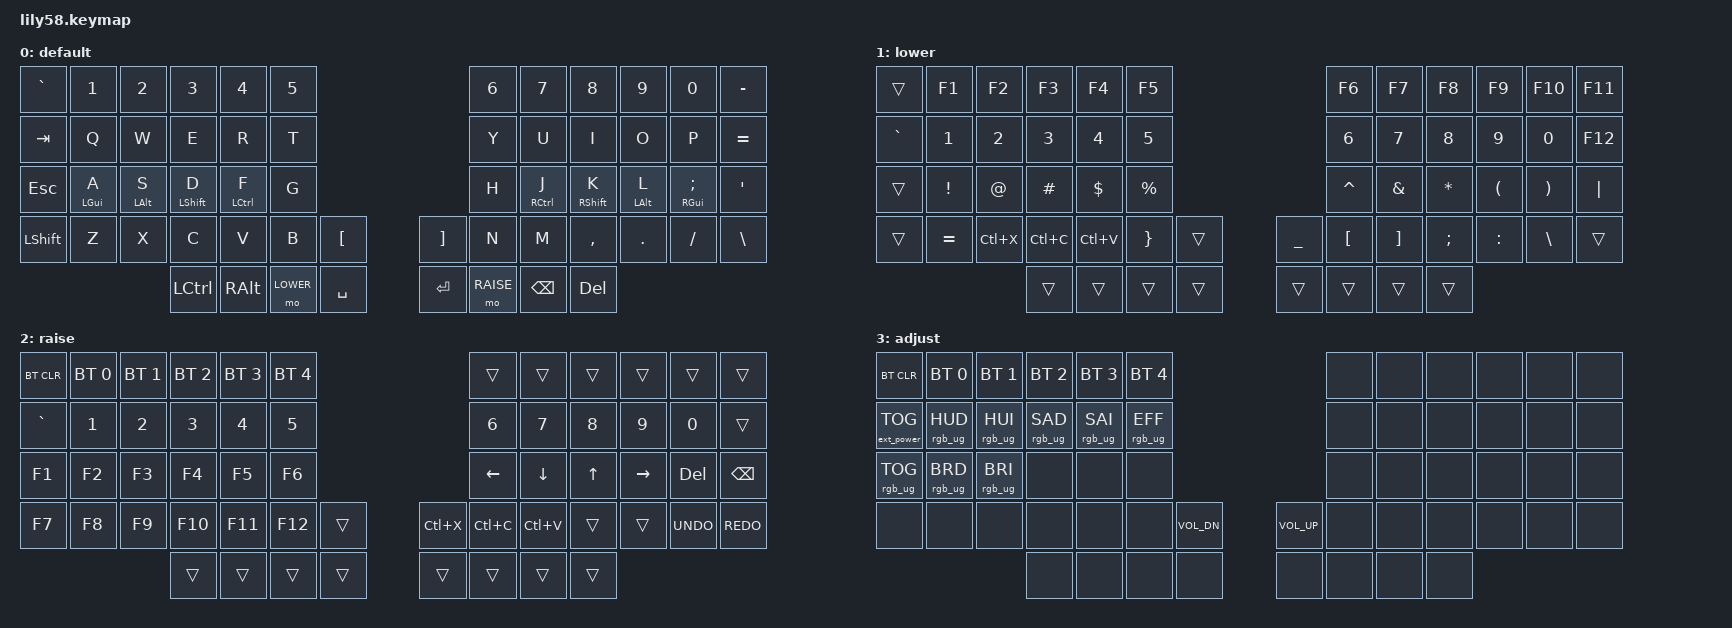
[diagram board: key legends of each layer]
/*
 * Copyright (c) 2020 The ZMK Contributors
 *
 * SPDX-License-Identifier: MIT
 */

#include <behaviors.dtsi>
#include <dt-bindings/zmk/keys.h>
#include <dt-bindings/zmk/bt.h>
#include <dt-bindings/zmk/ext_power.h>
#include <dt-bindings/zmk/rgb.h>

#define BASE 0
#define LOWER 1
#define RAISE 2
#define ADJUST 3

/ {
    // Activate ADJUST layer by pressing raise and lower
    conditional_layers {
        compatible = "zmk,conditional-layers";
        adjust_layer {
            if-layers = <LOWER RAISE>;
            then-layer = <ADJUST>;
        };
    };

    behaviors {
        hml_pinky: hml_pinky {
            compatible = "zmk,behavior-hold-tap";
            label = "HML_PINKY";
            bindings = <&kp>, <&kp>;

            #binding-cells = <2>;
            tapping-term-ms = <250>;
            quick-tap-ms = <150>;
            require-prior-idle-ms = <10>;
            flavor = "balanced";
            hold-trigger-on-release;
        };

        hml_ring: hml_ring {
            compatible = "zmk,behavior-hold-tap";
            label = "HML_RING";
            bindings = <&kp>, <&kp>;

            #binding-cells = <2>;
            tapping-term-ms = <220>;
            quick-tap-ms = <150>;
            require-prior-idle-ms = <10>;
            flavor = "balanced";
            hold-trigger-on-release;
        };

        hml_middle: hml_middle {
            compatible = "zmk,behavior-hold-tap";
            label = "HML_MIDDLE";
            bindings = <&kp>, <&kp>;

            #binding-cells = <2>;
            tapping-term-ms = <190>;
            quick-tap-ms = <150>;
            require-prior-idle-ms = <10>;
            flavor = "balanced";
            hold-trigger-on-release;
        };

        hml_index: hml_index {
            compatible = "zmk,behavior-hold-tap";
            label = "HML_INDEX";
            bindings = <&kp>, <&kp>;

            #binding-cells = <2>;
            tapping-term-ms = <170>;
            quick-tap-ms = <150>;
            require-prior-idle-ms = <10>;
            flavor = "balanced";
            hold-trigger-on-release;
        };

        hmr_index: hmr_index {
            compatible = "zmk,behavior-hold-tap";
            label = "HMR_INDEX";
            bindings = <&kp>, <&kp>;

            #binding-cells = <2>;
            tapping-term-ms = <170>;
            quick-tap-ms = <150>;
            require-prior-idle-ms = <10>;
            flavor = "balanced";
            hold-trigger-on-release;
        };

        hmr_middle: hmr_middle {
            compatible = "zmk,behavior-hold-tap";
            label = "HMR_MIDDLE";
            bindings = <&kp>, <&kp>;

            #binding-cells = <2>;
            tapping-term-ms = <190>;
            quick-tap-ms = <150>;
            require-prior-idle-ms = <10>;
            flavor = "balanced";
            hold-trigger-on-release;
        };

        hmr_ring: hmr_ring {
            compatible = "zmk,behavior-hold-tap";
            label = "HMR_RING";
            bindings = <&kp>, <&kp>;

            #binding-cells = <2>;
            tapping-term-ms = <220>;
            quick-tap-ms = <150>;
            require-prior-idle-ms = <10>;
            flavor = "balanced";
            hold-trigger-on-release;
        };

        hmr_pinky: hmr_pinky {
            compatible = "zmk,behavior-hold-tap";
            label = "HMR_PINKY";
            bindings = <&kp>, <&kp>;

            #binding-cells = <2>;
            tapping-term-ms = <250>;
            quick-tap-ms = <150>;
            require-prior-idle-ms = <10>;
            flavor = "balanced";
            hold-trigger-on-release;
        };
    };

    keymap {
        compatible = "zmk,keymap";

        default_layer {
            display-name = "default";
// ------------------------------------------------------------------------------------------------------------
// |  GRAVE |  1  |  2  |  3   |  4   |  5   |                   |  6   |  7    |  8    |  9   |   0   |   -   |
// |  TAB   |  Q  |  W  |  E   |  R   |  T   |                   |  Y   |  U    |  I    |  O   |   P   |   =   |
// |  ESC   |  A  |  S  |  D   |  F   |  G   |                   |  H   |  J    |  K    |  L   |   ;   |   '   |
// | SHIFT  |  Z  |  X  |  C   |  V   |  B   |   [   |  |  ]     |  N   |  M    |  ,    |  .   |   /   |   \   |
//                     | CTRL | ALT  | LOWER|  SPACE |  | ENTER | RAISE| BSPC  | DEL   |
            bindings = <
&kp GRAVE   &kp N1           &kp N2           &kp N3             &kp N4         &kp N5                             &kp N6     &kp N7         &kp N8        &kp N9           &kp N0                    &kp MINUS
&kp TAB     &kp Q            &kp W            &kp E              &kp R          &kp T                              &kp Y      &kp U          &kp I         &kp O            &kp P                     &kp EQUAL
&kp ESC     &hml_pinky LGUI A      &hml_ring LALT S      &hml_middle LSHFT D       &hml_index LCTRL F   &kp G                              &kp H      &hmr_index RCTRL J   &hmr_middle RSHFT K  &hmr_ring LALT L      &hmr_pinky RGUI SEMI            &kp SQT
&kp LSHFT   &kp Z            &kp X            &kp C              &kp V          &kp B      &kp LBKT      &kp RBKT  &kp N      &kp M          &kp COMMA     &kp DOT          &kp FSLH                  &kp BSLH
                             &kp LCTRL        &kp RALT           &mo LOWER      &kp SPACE                          &kp RET    &mo RAISE      &kp BSPC      &kp DEL
            >;
        };

        lower_layer {
            display-name = "lower";
// ------------------------------------------------------------------------------------------------------------
// |       |  F1 |  F2 |  F3  |  F4  |  F5  |                   |  F6  |  F7   |  F8   |  F9  |  F10  |  F11  |
// |   `   |  1  |  2  |  3   |  4   |  5   |   6   |   |   7   |  8   |   9   |   0   |   1   |  F12  |
// |       |  !  |  @  |  #   |  $   |  %   |   ^   |   |   &   |  *   |   (   |   )   |   |   |   |   |
// |       |  =  | CUT | COPY | PASTE |  }   |       |   |   _   |  [   |   ]   |   ;   |   :   |   \   |       |
//                     |      |      |      |       |   |       |      |       |       |
            bindings = <
&trans     &kp F1     &kp F2     &kp F3     &kp F4     &kp F5                          &kp F6     &kp F7     &kp F8     &kp F9     &kp F10    &kp F11
&kp GRAVE  &kp N1     &kp N2     &kp N3     &kp N4     &kp N5     &kp N6               &kp N7     &kp N8     &kp N9     &kp N0     &kp F12
&trans     &kp EXCL   &kp AT     &kp HASH   &kp DLLR   &kp PRCNT  &kp CARET            &kp AMPS   &kp ASTRK  &kp LPAR   &kp RPAR   &kp PIPE
&trans     &kp EQUAL  &kp LC(X)  &kp LC(C) &kp LC(V) &kp RBRC   &trans    &kp UNDER  &kp LBKT   &kp RBKT   &kp SEMI   &kp COLON  &kp BSLH   &trans
                      &trans     &trans     &trans     &trans                          &trans     &trans     &trans     &trans
            >;
        };

        raise_layer {
            display-name = "raise";
// ------------------------------------------------------------------------------------------------------------
// | BTCLR | BT1  | BT2  |  BT3  |  BT4  |  BT5 |                |      |      |       |      |       |       |
// |   `   |  1   |  2   |   3   |   4   |   5  |                |  6   |   7  |   8   |  9   |   0   |       |
// |   F1  |  F2  |  F3  |   F4  |   F5  |   F6 |                | LEFT | DOWN |  UP   | RIGHT|  DEL  | BKSPC |
// |   F7  |  F8  |  F9  |  F10  |  F11  |  F12 |      |  | CUT  | COPY | PASTE|      |      | UNDO  | REDO  |
//                |      |       |       |      |      |  |      |      |      |       |      |
            bindings = <
&bt BT_CLR  &bt BT_SEL 0  &bt BT_SEL 1  &bt BT_SEL 2  &bt BT_SEL 3  &bt BT_SEL 4                 &trans         &trans         &trans         &trans           &trans           &trans
&kp GRAVE   &kp N1        &kp N2        &kp N3        &kp N4        &kp N5                       &kp N6         &kp N7         &kp N8         &kp N9           &kp N0           &trans
&kp F1      &kp F2        &kp F3        &kp F4        &kp F5        &kp F6        &kp LEFT       &kp DOWN       &kp UP         &kp RIGHT      &kp DEL          &kp BSPC
&kp F7      &kp F8        &kp F9        &kp F10       &kp F11       &kp F12       &trans  &kp LC(X) &kp LC(C)  &kp LC(V)    &trans         &trans          &kp K_UNDO       &kp K_REDO
                          &trans        &trans        &trans        &trans                       &trans         &trans         &trans         &trans
            >;
        };


        adjust_layer {
            display-name = "adjust";
// ----------------------------------------------------------------------------------------------------------------------------
// | BTCLR  |  BT1    |  BT2    |   BT3   |   BT4   |   BT5   |                  |      |      |       |      |       |       |
// | EPTOG  |  HUD    |  HUI    |   SAD   |   SAI   |   EFF   |                  |      |      |       |      |       |       |
// | TOGGL  |  BRD    |  BRI    |         |         |         |                  |      |      |       |      |       |       |
// |        |         |         |         |         |         | VOL-  | |  VOL+  |      |      |       |      |       |       |
//                    |         |         |         |         |         | |      |      |      |       |      |
            bindings = <
&bt BT_CLR     &bt BT_SEL 0    &bt BT_SEL 1    &bt BT_SEL 2    &bt BT_SEL 3    &bt BT_SEL 4                          &none  &none  &none  &none  &none  &none
&ext_power EP_TOG &rgb_ug RGB_HUD &rgb_ug RGB_HUI &rgb_ug RGB_SAD &rgb_ug RGB_SAI &rgb_ug RGB_EFF                         &none  &none  &none  &none  &none  &none
&rgb_ug RGB_TOG   &rgb_ug RGB_BRD &rgb_ug RGB_BRI &none           &none           &none                                 &none  &none  &none  &none  &none  &none
&none          &none           &none           &none           &none           &none           &kp C_VOL_DN                      &kp C_VOL_UP  &none  &none  &none  &none  &none  &none
                                &none           &none           &none           &none                                 &none  &none  &none  &none
            >;
        };
    };
};
